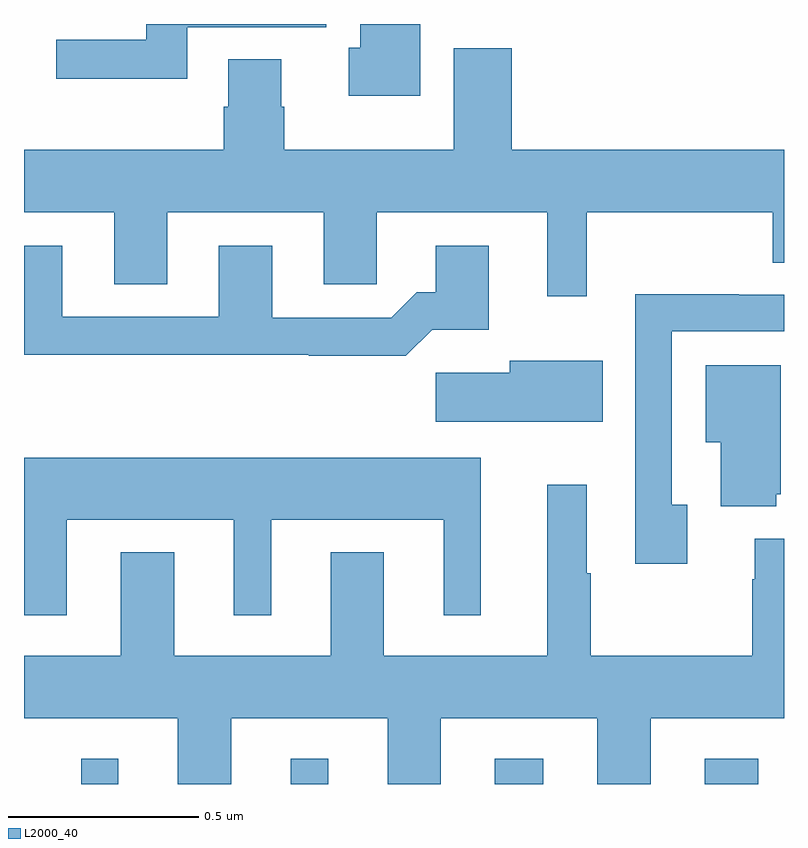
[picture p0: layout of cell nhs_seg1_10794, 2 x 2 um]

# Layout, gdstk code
import gdstk
lib = gdstk.Library(unit=1e-6, precision=1e-09)
def R(c, l, rs):  # rectangles x0, y0, x1, y1
    for r in rs: c.add(gdstk.rectangle(r[:2], r[2:], *l))
def P(c, l, *ps):  # polygons
    for p in ps: c.add(gdstk.Polygon(p, *l))
L2000_40 = (2000, 40)

nhs_seg1_10794 = lib.new_cell('nhs_seg1_10794')
R(nhs_seg1_10794, L2000_40, [(245.15,578.199,245.248,578.266), (245.702,578.199,245.8,578.266), (246.239,578.199,246.367,578.266), (246.791,578.199,246.932,578.266)])
P(nhs_seg1_10794, L2000_40, [(245.43,580.191),(245.796,580.191),(245.796,580.199),(245.322,580.199),(245.322,580.157),(245.085,580.157),(245.085,580.055),(245.43,580.055)],
  [(246.043,580.199),(245.885,580.199),(245.885,580.136),(245.855,580.136),(245.855,580.01),(246.043,580.01)],
  [(246.481,579.704),(246.97,579.704),(246.97,579.571),(247,579.571),(247,579.868),(246.284,579.868),(246.284,580.135),(246.131,580.135),(246.131,579.868),(245.685,579.868),(245.685,579.981),(245.677,579.981),(245.677,580.106),(245.537,580.106),(245.537,579.981),(245.525,579.981),(245.525,579.868),(245,579.868),(245,579.704),(245.237,579.704),(245.237,579.514),(245.377,579.514),(245.377,579.704),(245.789,579.704),(245.789,579.514),(245.928,579.514),(245.928,579.704),(246.377,579.704),(246.377,579.483),(246.481,579.483)],
  [(246.074,579.395),(246.223,579.395),(246.223,579.616),(246.083,579.616),(246.083,579.493),(246.034,579.493),(245.967,579.426),(245.653,579.426),(245.653,579.616),(245.513,579.616),(245.513,579.429),(245.101,579.429),(245.101,579.616),(245,579.616),(245,579.328),(245.749,579.328),(245.749,579.326),(246.005,579.326)],
  [(246.745,578.934),(246.705,578.934),(246.705,579.39),(247,579.39),(247,579.486),(246.881,579.486),(246.881,579.488),(246.609,579.488),(246.609,578.778),(246.745,578.778)],
  [(246.523,579.313),(246.278,579.313),(246.278,579.281),(246.084,579.281),(246.084,579.152),(246.523,579.152)],
  [(246.98,578.961),(246.991,578.961),(246.991,579.301),(246.794,579.301),(246.794,579.098),(246.833,579.098),(246.833,578.93),(246.98,578.93)],
  [(245.113,578.894),(245.552,578.894),(245.552,578.643),(245.65,578.643),(245.65,578.894),(246.104,578.894),(246.104,578.643),(246.202,578.643),(246.202,579.058),(245,579.058),(245,578.643),(245.113,578.643)],
  [(245.545,578.372),(245.957,578.372),(245.957,578.199),(246.097,578.199),(246.097,578.372),(246.509,578.372),(246.509,578.199),(246.649,578.199),(246.649,578.372),(247,578.372),(247,578.845),(246.923,578.845),(246.923,578.738),(246.916,578.738),(246.916,578.536),(246.491,578.536),(246.491,578.753),(246.481,578.753),(246.481,578.986),(246.377,578.986),(246.377,578.536),(245.947,578.536),(245.947,578.809),(245.807,578.809),(245.807,578.536),(245.395,578.536),(245.395,578.809),(245.255,578.809),(245.255,578.536),(245,578.536),(245,578.372),(245.405,578.372),(245.405,578.199),(245.545,578.199)])

lib.write_gds('nhs_seg1_10794.gds')
